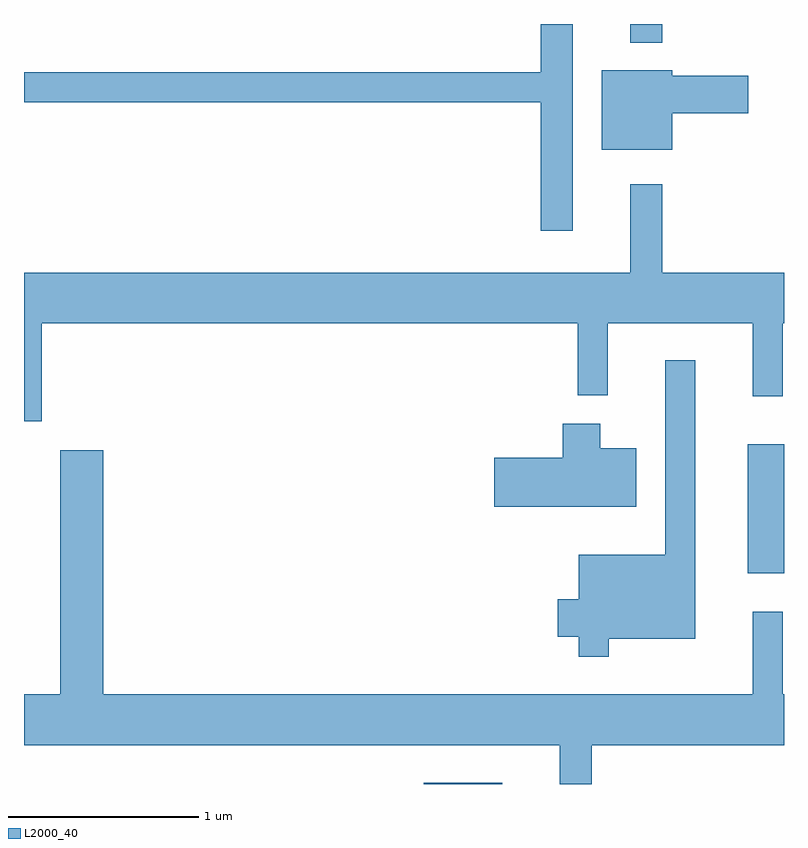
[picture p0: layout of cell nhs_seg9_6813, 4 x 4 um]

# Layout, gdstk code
import gdstk
lib = gdstk.Library(unit=1e-6, precision=1e-09)
def R(c, l, rs):  # rectangles x0, y0, x1, y1
    for r in rs: c.add(gdstk.rectangle(r[:2], r[2:], *l))
def P(c, l, *ps):  # polygons
    for p in ps: c.add(gdstk.Polygon(p, *l))
L2000_40 = (2000, 40)

nhs_seg9_6813 = lib.new_cell('nhs_seg9_6813')
R(nhs_seg9_6813, L2000_40, [(387.716,2060.432,388.129,2060.439), (389.421,2061.541,389.611,2062.219), (388.801,2064.333,388.969,2064.432)])
P(nhs_seg9_6813, L2000_40, [(388.499,2064.432),(388.331,2064.432),(388.331,2064.179),(385.611,2064.179),(385.611,2064.021),(388.331,2064.021),(388.331,2063.343),(388.499,2063.343)],
  [(389.024,2063.961),(389.424,2063.961),(389.424,2064.159),(389.024,2064.159),(389.024,2064.189),(388.651,2064.189),(388.651,2063.771),(389.024,2063.771)],
  [(385.704,2062.856),(388.526,2062.856),(388.526,2062.478),(388.684,2062.478),(388.684,2062.856),(389.446,2062.856),(389.446,2062.472),(389.604,2062.472),(389.604,2062.856),(389.611,2062.856),(389.611,2063.124),(388.969,2063.124),(388.969,2063.588),(388.801,2063.588),(388.801,2063.124),(385.611,2063.124),(385.611,2062.341),(385.704,2062.341)],
  [(388.689,2061.196),(389.144,2061.196),(389.144,2062.663),(388.986,2062.663),(388.986,2061.639),(388.531,2061.639),(388.531,2061.404),(388.421,2061.404),(388.421,2061.206),(388.531,2061.206),(388.531,2061.101),(388.689,2061.101)],
  [(388.834,2062.199),(388.644,2062.199),(388.644,2062.329),(388.446,2062.329),(388.446,2062.149),(388.086,2062.149),(388.086,2061.891),(388.834,2061.891)],
  [(388.599,2060.636),(389.611,2060.636),(389.611,2060.904),(389.604,2060.904),(389.604,2061.338),(389.446,2061.338),(389.446,2060.904),(386.029,2060.904),(386.029,2062.189),(385.801,2062.189),(385.801,2060.904),(385.611,2060.904),(385.611,2060.636),(388.431,2060.636),(388.431,2060.432),(388.599,2060.432)])

lib.write_gds('nhs_seg9_6813.gds')
